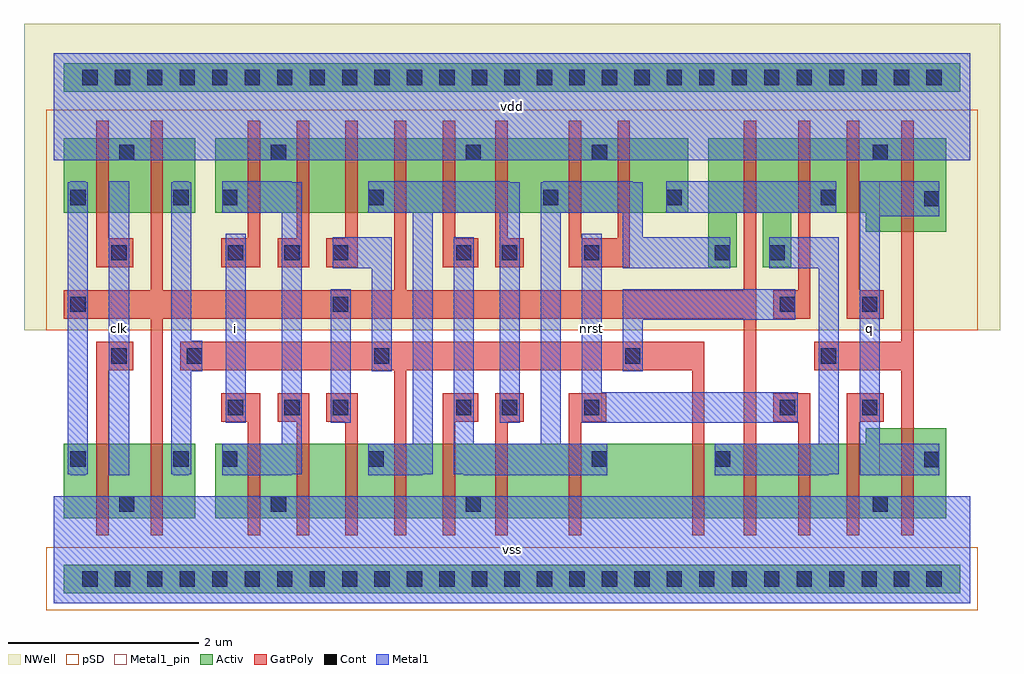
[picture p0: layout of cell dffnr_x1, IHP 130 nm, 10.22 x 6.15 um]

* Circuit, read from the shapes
.subckt dffnr_x1 clk i nrst q vdd vss
XM1 vss clk n1 vss sg13_lv_nmos w=0.78u l=0.13u
XM2 n2 n1 vss vss sg13_lv_nmos w=0.78u l=0.13u
XM3 vss i n3 vss sg13_lv_nmos w=0.78u l=0.13u
XM4 n4 n3 vss vss sg13_lv_nmos w=0.78u l=0.13u
XM5 n5 n1 n4 vss sg13_lv_nmos w=0.78u l=0.13u
XM6 n6 n2 n5 vss sg13_lv_nmos w=0.78u l=0.13u
XM7 vss n7 n6 vss sg13_lv_nmos w=0.78u l=0.13u
XM8 n8 n5 vss vss sg13_lv_nmos w=0.78u l=0.13u
XM9 n7 nrst n8 vss sg13_lv_nmos w=0.78u l=0.13u
XM10 n9 n2 n7 vss sg13_lv_nmos w=0.78u l=0.13u
XM11 n10 n1 n9 vss sg13_lv_nmos w=0.78u l=0.13u
XM12 n11 nrst n10 vss sg13_lv_nmos w=0.78u l=0.13u
XM13 vss q n11 vss sg13_lv_nmos w=0.78u l=0.13u
XM14 q n9 vss vss sg13_lv_nmos w=0.94u l=0.13u
XM15 vdd clk n1 vdd sg13_lv_pmos w=0.78u l=0.13u
XM16 n2 n1 vdd vdd sg13_lv_pmos w=0.78u l=0.13u
XM17 vdd i n3 vdd sg13_lv_pmos w=0.78u l=0.13u
XM18 n12 n3 vdd vdd sg13_lv_pmos w=0.78u l=0.13u
XM19 n5 n2 n12 vdd sg13_lv_pmos w=0.78u l=0.13u
XM20 n13 n1 n5 vdd sg13_lv_pmos w=0.78u l=0.13u
XM21 vdd n7 n13 vdd sg13_lv_pmos w=0.78u l=0.13u
XM22 n7 n5 vdd vdd sg13_lv_pmos w=0.78u l=0.13u
XM23 vdd nrst n7 vdd sg13_lv_pmos w=0.78u l=0.13u
XM24 n14 nrst vdd vdd sg13_lv_pmos w=0.78u l=0.13u
XM25 n9 n1 n7 vdd sg13_lv_pmos w=0.78u l=0.13u
XM26 n14 n2 n9 vdd sg13_lv_pmos w=0.78u l=0.13u
XM27 vdd q n14 vdd sg13_lv_pmos w=0.78u l=0.13u
XM28 q n9 vdd vdd sg13_lv_pmos w=0.98u l=0.13u
.ends

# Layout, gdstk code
import gdstk
lib = gdstk.Library(unit=1e-6, precision=1e-09)
def R(c, l, rs):  # rectangles x0, y0, x1, y1
    for r in rs: c.add(gdstk.rectangle(r[:2], r[2:], *l))
def A(c, l, x, y, w, h, nx, ny, dx, dy):  # array of equal rectangles
    R(c, l, [(x+i*dx, y+j*dy, x+i*dx+w, y+j*dy+h) for i in range(nx) for j in range(ny)])
def P(c, l, *ps):  # polygons
    for p in ps: c.add(gdstk.Polygon(p, *l))
Activ = (1, 0)
GatPoly = (5, 0)
Cont = (6, 0)
Metal1 = (8, 0)
Metal1_pin = (8, 2)
pSD = (14, 0)
NWell = (31, 0)

dffnr_x1 = lib.new_cell('dffnr_x1')
R(dffnr_x1, Activ, [(0.105,0.105,9.495,0.405), (0.105,0.89,1.485,1.67), (0.105,4.09,1.485,4.87), (1.695,4.09,6.645,4.87), (0.105,5.355,9.495,5.655)])
P(dffnr_x1, Activ, [(6.855,3.52),(6.855,4.87),(9.345,4.87),(9.345,3.89),(8.505,3.89),(8.505,4.09),(7.725,4.09),(7.725,3.52),(7.425,3.52),(7.425,4.09),(7.155,4.09),(7.155,3.52)],
  [(1.695,0.89),(1.695,1.67),(8.505,1.67),(8.505,1.83),(9.345,1.83),(9.345,0.89)])
P(dffnr_x1, GatPoly, [(1.015,0.71),(1.015,2.98),(0.105,2.98),(0.105,3.28),(1.015,3.28),(1.015,5.05),(1.145,5.05),(1.145,3.28),(3.565,3.28),(3.565,5.05),(3.695,5.05),(3.695,3.28),(7.225,3.28),(7.225,5.05),(7.355,5.05),(7.355,0.71),(7.225,0.71),(7.225,2.98),(1.145,2.98),(1.145,0.71)],
  [(3.055,0.71),(3.055,1.9),(2.855,1.9),(2.855,2.2),(3.185,2.2),(3.185,0.71)],
  [(0.445,0.71),(0.445,2.74),(0.835,2.74),(0.835,2.44),(0.575,2.44),(0.575,0.71)],
  [(0.445,3.52),(0.445,5.05),(0.575,5.05),(0.575,3.82),(0.835,3.82),(0.835,3.52)],
  [(3.565,0.71),(3.565,2.44),(1.325,2.44),(1.325,2.74),(6.815,2.74),(6.815,0.71),(6.685,0.71),(6.685,2.44),(3.695,2.44),(3.695,0.71)],
  [(7.535,2.98),(7.535,3.28),(7.795,3.28),(7.795,5.05),(7.925,5.05),(7.925,2.98)],
  [(2.855,3.52),(2.855,3.82),(3.055,3.82),(3.055,5.05),(3.185,5.05),(3.185,3.52)],
  [(2.345,3.52),(2.345,3.82),(2.545,3.82),(2.545,5.05),(2.675,5.05),(2.675,3.52)],
  [(2.545,0.71),(2.545,1.9),(2.345,1.9),(2.345,2.2),(2.675,2.2),(2.675,0.71)],
  [(1.755,3.52),(1.755,3.82),(2.035,3.82),(2.035,5.05),(2.165,5.05),(2.165,3.52)],
  [(2.035,0.71),(2.035,1.9),(1.755,1.9),(1.755,2.2),(2.165,2.2),(2.165,0.71)],
  [(4.625,3.52),(4.625,5.05),(4.755,5.05),(4.755,3.82),(4.925,3.82),(4.925,3.52)],
  [(4.625,0.71),(4.625,2.2),(4.925,2.2),(4.925,1.9),(4.755,1.9),(4.755,0.71)],
  [(4.075,3.52),(4.075,5.05),(4.205,5.05),(4.205,3.82),(4.445,3.82),(4.445,3.52)],
  [(4.075,0.71),(4.075,2.2),(4.445,2.2),(4.445,1.9),(4.205,1.9),(4.205,0.71)],
  [(5.395,3.52),(5.395,5.05),(5.525,5.05),(5.525,3.82),(5.905,3.82),(5.905,5.05),(6.035,5.05),(6.035,3.52)],
  [(5.395,0.71),(5.395,2.2),(5.785,2.2),(5.785,1.9),(5.525,1.9),(5.525,0.71)],
  [(7.795,0.71),(7.795,1.9),(7.535,1.9),(7.535,2.2),(7.925,2.2),(7.925,0.71)],
  [(8.875,0.71),(8.875,2.44),(7.965,2.44),(7.965,2.74),(8.875,2.74),(8.875,5.05),(9.005,5.05),(9.005,0.71)],
  [(8.305,2.98),(8.305,5.05),(8.435,5.05),(8.435,3.28),(8.695,3.28),(8.695,2.98)],
  [(8.305,0.71),(8.305,2.2),(8.695,2.2),(8.695,1.9),(8.435,1.9),(8.435,0.71)])
A(dffnr_x1, Cont, 0.3, 0.175, 0.16, 0.16, 27, 2, 0.34, 5.25)
R(dffnr_x1, Cont, [(0.685,0.96,0.845,1.12), (2.275,0.96,2.435,1.12), (4.315,0.96,4.475,1.12), (8.575,0.96,8.735,1.12), (9.115,1.425,9.275,1.585), (0.175,1.43,0.335,1.59), (1.255,1.43,1.415,1.59), (1.765,1.43,1.925,1.59), (3.295,1.43,3.455,1.59), (5.635,1.43,5.795,1.59), (6.925,1.43,7.085,1.59), (1.825,1.97,1.985,2.13), (2.415,1.97,2.575,2.13), (2.925,1.97,3.085,2.13), (4.215,1.97,4.375,2.13), (4.695,1.97,4.855,2.13), (5.555,1.97,5.715,2.13), (7.605,1.97,7.765,2.13), (8.465,1.97,8.625,2.13), (0.605,2.51,0.765,2.67), (1.395,2.51,1.555,2.67), (3.355,2.51,3.515,2.67), (5.985,2.51,6.145,2.67), (8.035,2.51,8.195,2.67), (0.175,3.05,0.335,3.21), (2.925,3.05,3.085,3.21), (7.605,3.05,7.765,3.21), (8.465,3.05,8.625,3.21), (0.605,3.59,0.765,3.75), (1.825,3.59,1.985,3.75), (2.415,3.59,2.575,3.75), (2.925,3.59,3.085,3.75), (4.215,3.59,4.375,3.75), (4.695,3.59,4.855,3.75), (5.555,3.59,5.715,3.75), (6.925,3.59,7.085,3.75), (7.495,3.59,7.655,3.75), (9.115,4.155,9.275,4.315), (0.175,4.17,0.335,4.33), (1.255,4.17,1.415,4.33), (1.765,4.17,1.925,4.33), (3.295,4.17,3.455,4.33), (5.125,4.17,5.285,4.33), (6.415,4.17,6.575,4.33), (8.035,4.17,8.195,4.33), (0.685,4.64,0.845,4.8), (2.275,4.64,2.435,4.8), (4.315,4.64,4.475,4.8), (5.635,4.64,5.795,4.8), (8.575,4.64,8.735,4.8)])
R(dffnr_x1, Metal1, [(0,0,9.6,1.12), (0.58,1.34,0.79,4.42), (1.8,1.89,2.01,3.87), (2.9,1.89,3.11,3.29), (6.415,4.09,8.195,4.42), (0,4.64,9.6,5.76)])
P(dffnr_x1, Metal1, [(0.175,1.34),(0.175,1.35),(0.15,1.35),(0.15,4.41),(0.175,4.41),(0.175,4.42),(0.335,4.42),(0.335,4.41),(0.36,4.41),(0.36,1.35),(0.335,1.35),(0.335,1.34)],
  [(3.33,2.43),(3.33,3.51),(2.925,3.51),(2.925,3.83),(3.54,3.83),(3.54,2.43)],
  [(1.255,1.34),(1.255,1.35),(1.23,1.35),(1.23,4.41),(1.255,4.41),(1.255,4.42),(1.415,4.42),(1.415,4.41),(1.44,4.41),(1.44,2.75),(1.555,2.75),(1.555,2.43),(1.44,2.43),(1.44,1.35),(1.415,1.35),(1.415,1.34)],
  [(5.96,2.43),(5.96,3.29),(7.765,3.29),(7.765,2.97),(6.17,2.97),(6.17,2.43)],
  [(1.765,1.34),(1.765,1.67),(2.39,1.67),(2.39,4.09),(1.765,4.09),(1.765,4.42),(2.495,4.42),(2.495,4.41),(2.6,4.41),(2.6,1.35),(2.495,1.35),(2.495,1.34)],
  [(3.295,1.34),(3.295,1.67),(3.76,1.67),(3.76,4.09),(3.295,4.09),(3.295,4.42),(4.775,4.42),(4.775,4.41),(4.88,4.41),(4.88,1.89),(4.67,1.89),(4.67,4.09),(3.97,4.09),(3.97,1.35),(3.865,1.35),(3.865,1.34)],
  [(4.295,1.34),(4.295,1.35),(4.19,1.35),(4.19,3.83),(4.4,3.83),(4.4,1.67),(5.1,1.67),(5.1,4.41),(5.125,4.41),(5.125,4.42),(6.065,4.42),(6.065,4.41),(6.17,4.41),(6.17,3.83),(7.085,3.83),(7.085,3.51),(5.96,3.51),(5.96,4.09),(5.31,4.09),(5.31,1.67),(5.795,1.67),(5.795,1.34)],
  [(5.53,1.89),(5.53,3.87),(5.74,3.87),(5.74,2.21),(7.79,2.21),(7.79,1.89)],
  [(6.925,1.34),(6.925,1.67),(8.01,1.67),(8.01,3.51),(7.495,3.51),(7.495,3.83),(8.22,3.83),(8.22,1.35),(8.115,1.35),(8.115,1.34)],
  [(8.44,1.34),(8.44,4.42),(9.275,4.42),(9.275,4.05),(8.65,4.05),(8.65,1.67),(9.275,1.67),(9.275,1.34)])
R(dffnr_x1, Metal1_pin, [(0,0,9.6,1.12), (0.58,1.34,0.79,4.42), (8.44,1.34,8.65,4.42), (1.8,1.89,2.01,3.87), (5.53,1.89,5.74,3.87), (0,4.64,9.6,5.76)])
R(dffnr_x1, pSD, [(-0.075,-0.075,9.675,0.585), (-0.075,2.86,9.675,5.17)])
R(dffnr_x1, NWell, [(-0.31,2.86,9.91,6.07)])
dffnr_x1.add(gdstk.Label('vdd', (4.8,5.2), layer=8, texttype=2))
dffnr_x1.add(gdstk.Label('vss', (4.8,0.56), layer=8, texttype=2))
dffnr_x1.add(gdstk.Label('clk', (0.685,2.88), layer=8, texttype=2))
dffnr_x1.add(gdstk.Label('i', (1.905,2.88), layer=8, texttype=2))
dffnr_x1.add(gdstk.Label('nrst', (5.635,2.88), layer=8, texttype=2))
dffnr_x1.add(gdstk.Label('q', (8.545,2.88), layer=8, texttype=2))

lib.write_gds('dffnr_x1.gds')
